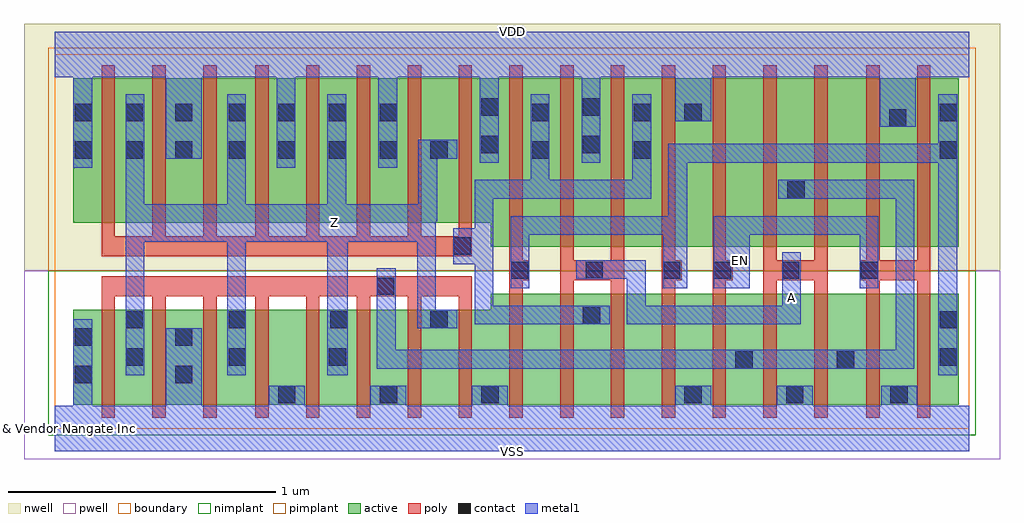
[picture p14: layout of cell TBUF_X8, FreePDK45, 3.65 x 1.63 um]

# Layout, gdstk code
import gdstk
lib = gdstk.Library(unit=1e-6, precision=1e-10)
def R(c, l, rs):  # rectangles x0, y0, x1, y1
    for r in rs: c.add(gdstk.rectangle(r[:2], r[2:], *l))
def A(c, l, x, y, w, h, nx, ny, dx, dy):  # array of equal rectangles
    R(c, l, [(x+i*dx, y+j*dy, x+i*dx+w, y+j*dy+h) for i in range(nx) for j in range(ny)])
def P(c, l, *ps):  # polygons
    for p in ps: c.add(gdstk.Polygon(p, *l))
active = (1, 0)
pwell = (2, 0)
nwell = (3, 0)
nimplant = (4, 0)
pimplant = (5, 0)
poly = (9, 0)
contact = (10, 0)
metal1 = (11, 0)
boundary = (235, 0)

tbuf_x8 = lib.new_cell('TBUF_X8')
P(tbuf_x8, active, [(0.07,0.09),(0.07,0.445),(1.63,0.445),(1.63,0.505),(3.38,0.505),(3.38,0.09)],
  [(1.63,0.68),(1.63,0.77),(0.07,0.77),(0.07,1.31),(3.38,1.31),(3.38,0.68)])
R(tbuf_x8, pwell, [(-0.115,-0.115,3.535,0.59)])
R(tbuf_x8, nwell, [(-0.115,0.59,3.535,1.515)])
R(tbuf_x8, nimplant, [(-0.025,-0.025,3.445,0.59)])
R(tbuf_x8, pimplant, [(-0.025,0.59,3.445,1.425)])
P(tbuf_x8, poly, [(0.175,0.04),(0.175,0.57),(1.56,0.57),(1.56,0.04),(1.51,0.04),(1.51,0.495),(1.37,0.495),(1.37,0.04),(1.32,0.04),(1.32,0.495),(1.18,0.495),(1.18,0.04),(1.13,0.04),(1.13,0.495),(0.99,0.495),(0.99,0.04),(0.94,0.04),(0.94,0.495),(0.8,0.495),(0.8,0.04),(0.75,0.04),(0.75,0.495),(0.605,0.495),(0.605,0.04),(0.555,0.04),(0.555,0.495),(0.415,0.495),(0.415,0.04),(0.365,0.04),(0.365,0.495),(0.225,0.495),(0.225,0.04)],
  [(0.175,0.645),(0.175,1.36),(0.225,1.36),(0.225,0.72),(0.365,0.72),(0.365,1.36),(0.415,1.36),(0.415,0.72),(0.555,0.72),(0.555,1.36),(0.605,1.36),(0.605,0.72),(0.75,0.72),(0.75,1.36),(0.8,1.36),(0.8,0.72),(0.94,0.72),(0.94,1.36),(0.99,1.36),(0.99,0.72),(1.13,0.72),(1.13,1.36),(1.18,1.36),(1.18,0.72),(1.32,0.72),(1.32,1.36),(1.37,1.36),(1.37,0.72),(1.51,0.72),(1.51,1.36),(1.56,1.36),(1.56,0.645)],
  [(1.7,0.04),(1.7,1.36),(1.75,1.36),(1.75,0.63),(1.775,0.63),(1.775,0.555),(1.75,0.555),(1.75,0.04)],
  [(1.89,0.04),(1.89,1.36),(1.94,1.36),(1.94,0.63),(2.08,0.63),(2.08,1.36),(2.13,1.36),(2.13,0.04),(2.08,0.04),(2.08,0.555),(1.94,0.555),(1.94,0.04)],
  [(2.27,0.04),(2.27,1.36),(2.32,1.36),(2.32,0.63),(2.345,0.63),(2.345,0.555),(2.32,0.555),(2.32,0.04)],
  [(2.46,0.04),(2.46,1.36),(2.51,1.36),(2.51,0.63),(2.535,0.63),(2.535,0.555),(2.51,0.555),(2.51,0.04)],
  [(2.65,0.04),(2.65,1.36),(2.7,1.36),(2.7,0.63),(2.84,0.63),(2.84,1.36),(2.89,1.36),(2.89,0.04),(2.84,0.04),(2.84,0.555),(2.7,0.555),(2.7,0.04)],
  [(3.035,0.04),(3.035,0.555),(3.01,0.555),(3.01,0.63),(3.035,0.63),(3.035,1.36),(3.085,1.36),(3.085,0.63),(3.225,0.63),(3.225,1.36),(3.275,1.36),(3.275,0.04),(3.225,0.04),(3.225,0.555),(3.085,0.555),(3.085,0.04)])
A(tbuf_x8, contact, 0.835, 0.095, 0.065, 0.065, 3, 1, 0.38, 0)
A(tbuf_x8, contact, 0.835, 1.01, 0.065, 0.065, 4, 1, 0.19, 0)
A(tbuf_x8, contact, 0.835, 1.15, 0.065, 0.065, 3, 1, 0.19, 0)
R(tbuf_x8, contact, [(2.355,0.095,2.42,0.16), (2.735,0.095,2.8,0.16), (3.125,0.095,3.19,0.16), (0.075,0.17,0.14,0.235), (0.45,0.17,0.515,0.235), (2.545,0.225,2.61,0.29), (2.925,0.225,2.99,0.29), (0.265,0.235,0.33,0.3), (0.65,0.235,0.715,0.3), (1.025,0.235,1.09,0.3), (3.31,0.235,3.375,0.3), (0.075,0.31,0.14,0.375), (0.45,0.31,0.515,0.375), (0.265,0.375,0.33,0.44), (0.65,0.375,0.715,0.44), (1.03,0.375,1.095,0.44), (1.405,0.375,1.47,0.44), (3.31,0.375,3.375,0.44), (1.975,0.39,2.04,0.455), (1.205,0.5,1.27,0.565), (1.705,0.56,1.77,0.625), (1.985,0.56,2.05,0.625), (2.275,0.56,2.34,0.625), (2.465,0.56,2.53,0.625), (2.72,0.56,2.785,0.625), (3.015,0.56,3.08,0.625), (1.49,0.65,1.555,0.715), (2.74,0.86,2.805,0.925), (0.075,1.01,0.14,1.075), (0.265,1.01,0.33,1.075), (0.45,1.01,0.515,1.075), (0.65,1.01,0.715,1.075), (1.785,1.01,1.85,1.075), (2.165,1.01,2.23,1.075), (3.31,1.01,3.375,1.075), (1.595,1.03,1.66,1.095), (1.975,1.03,2.04,1.095), (3.12,1.13,3.185,1.195), (0.075,1.15,0.14,1.215), (0.265,1.15,0.33,1.215), (0.45,1.15,0.515,1.215), (0.65,1.15,0.715,1.215), (1.785,1.15,1.85,1.215), (2.165,1.15,2.23,1.215), (2.355,1.15,2.42,1.215), (3.31,1.15,3.375,1.215), (1.595,1.17,1.66,1.235), (1.975,1.17,2.04,1.235)])
P(tbuf_x8, metal1, [(0.265,0.2),(0.265,1.25),(0.335,1.25),(0.335,0.84),(0.645,0.84),(0.645,1.25),(0.715,1.25),(0.715,0.84),(1.02,0.84),(1.02,1.25),(1.09,1.25),(1.09,0.84),(1.36,0.84),(1.36,1.08),(1.505,1.08),(1.505,1.01),(1.43,1.01),(1.43,0.775),(1.425,0.775),(1.425,0.445),(1.505,0.445),(1.505,0.375),(1.355,0.375),(1.355,0.7),(1.095,0.7),(1.095,0.2),(1.02,0.2),(1.02,0.7),(0.715,0.7),(0.715,0.2),(0.645,0.2),(0.645,0.7),(0.335,0.7),(0.335,0.2)],
  [(1.57,0.39),(1.57,0.615),(1.49,0.615),(1.49,0.75),(1.57,0.75),(1.57,0.93),(1.78,0.93),(1.78,1.25),(1.85,1.25),(1.85,0.93),(2.16,0.93),(2.16,1.25),(2.23,1.25),(2.23,0.86),(1.64,0.86),(1.64,0.46),(2.075,0.46),(2.075,0.39)],
  [(2.14,0.39),(2.14,0.56),(1.95,0.56),(1.95,0.63),(2.21,0.63),(2.21,0.46),(2.72,0.46),(2.72,0.66),(2.79,0.66),(2.79,0.39)],
  [(2.465,0.525),(2.465,0.795),(3.08,0.795),(3.08,0.525),(3.01,0.525),(3.01,0.725),(2.6,0.725),(2.6,0.525)],
  [(1.205,0.225),(1.205,0.6),(1.275,0.6),(1.275,0.295),(3.145,0.295),(3.145,0.86),(2.705,0.86),(2.705,0.93),(3.215,0.93),(3.215,0.225)],
  [(3.305,0.2),(3.305,0.995),(2.365,0.995),(2.365,0.525),(2.275,0.525),(2.275,0.725),(1.775,0.725),(1.775,0.525),(1.705,0.525),(1.705,0.795),(2.295,0.795),(2.295,1.065),(3.305,1.065),(3.305,1.25),(3.375,1.25),(3.375,0.2)],
  [(0,-0.085),(0,0.085),(0.07,0.085),(0.07,0.41),(0.14,0.41),(0.14,0.085),(0.415,0.085),(0.415,0.375),(0.55,0.375),(0.55,0.085),(0.8,0.085),(0.8,0.16),(0.935,0.16),(0.935,0.085),(1.18,0.085),(1.18,0.16),(1.315,0.16),(1.315,0.085),(1.56,0.085),(1.56,0.16),(1.695,0.16),(1.695,0.085),(2.32,0.085),(2.32,0.16),(2.455,0.16),(2.455,0.085),(2.7,0.085),(2.7,0.16),(2.835,0.16),(2.835,0.085),(3.09,0.085),(3.09,0.16),(3.225,0.16),(3.225,0.085),(3.42,0.085),(3.42,-0.085)],
  [(0.07,0.975),(0.07,1.315),(0,1.315),(0,1.485),(3.42,1.485),(3.42,1.315),(3.22,1.315),(3.22,1.13),(3.085,1.13),(3.085,1.315),(2.455,1.315),(2.455,1.15),(2.32,1.15),(2.32,1.315),(2.04,1.315),(2.04,0.995),(1.97,0.995),(1.97,1.315),(1.66,1.315),(1.66,0.995),(1.59,0.995),(1.59,1.315),(1.28,1.315),(1.28,0.975),(1.21,0.975),(1.21,1.315),(0.9,1.315),(0.9,0.975),(0.83,0.975),(0.83,1.315),(0.55,1.315),(0.55,1.01),(0.415,1.01),(0.415,1.315),(0.14,1.315),(0.14,0.975)])
R(tbuf_x8, boundary, [(0,0,3.42,1.4)])
tbuf_x8.add(gdstk.Label('A', (2.755,0.49), layer=11, texttype=0))
tbuf_x8.add(gdstk.Label('EN', (2.565,0.63), layer=11, texttype=0))
tbuf_x8.add(gdstk.Label('VDD', (1.71,1.485), layer=11, texttype=0))
tbuf_x8.add(gdstk.Label('VSS', (1.71,-0.085), layer=11, texttype=0))
tbuf_x8.add(gdstk.Label('Z', (1.045,0.77), layer=11, texttype=0))
tbuf_x8.add(gdstk.Label('& Vendor Nangate Inc', (0,0), layer=63, texttype=63))
tbuf_x8.add(gdstk.Label('& Product Open Cell Library', (0,0), layer=63, texttype=63))
tbuf_x8.add(gdstk.Label('& Version 2010_12', (0,0), layer=63, texttype=63))
tbuf_x8.add(gdstk.Label('& Instance TBUF_X8', (0,0), layer=63, texttype=63))

lib.write_gds('TBUF_X8.gds')
